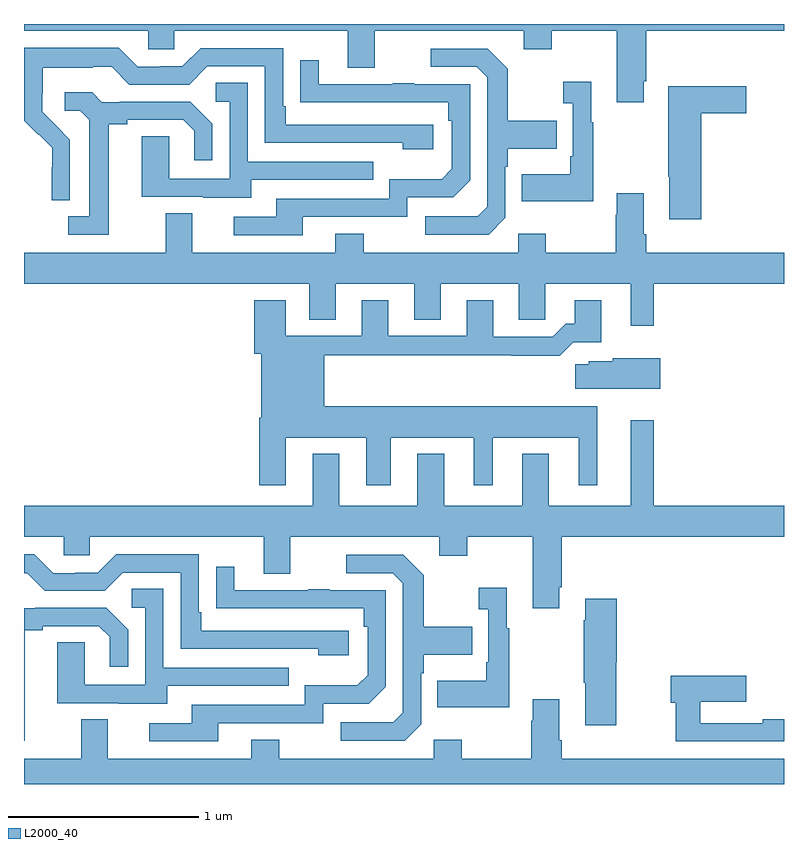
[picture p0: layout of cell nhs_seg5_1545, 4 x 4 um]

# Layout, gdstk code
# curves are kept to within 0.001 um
import gdstk
lib = gdstk.Library(unit=1e-6, precision=1e-09)
def P(c, l, *ps):  # polygons
    for p in ps: c.add(gdstk.Polygon(p, *l))
L2000_40 = (2000, 40)

nhs_seg5_1545 = lib.new_cell('nhs_seg5_1545')
P(nhs_seg5_1545, L2000_40, [(208.261,852.499),(208.274,852.499),(208.274,852.764),(209,852.764),(209,852.799),(205,852.799),(205,852.764),(205.653,852.764),(205.653,852.666),(205.791,852.666),(205.791,852.764),(206.705,852.764),(206.705,852.57),(206.845,852.57),(206.845,852.764),(207.629,852.764),(207.629,852.665),(207.777,852.665),(207.777,852.764),(208.121,852.764),(208.121,852.387),(208.261,852.387)],
  [(205.242,852.19),(205.096,852.338),(205.096,852.435),(205.098,852.435),(205.098,852.569),(205.361,852.569),(205.361,852.573),(205.461,852.573),(205.554,852.48),(205.869,852.48),(205.965,852.576),(206.268,852.576),(206.268,852.174),(206.993,852.174),(206.993,852.14),(207.154,852.14),(207.154,852.27),(206.377,852.27),(206.377,852.367),(206.364,852.367),(206.364,852.672),(205.929,852.672),(205.833,852.576),(205.715,852.576),(205.715,852.573),(205.599,852.573),(205.499,852.673),(205.002,852.673),(205.002,852.576),(205,852.576),(205,852.29),(205.074,852.216),(205.077,852.219),(205.148,852.149),(205.148,852.044),(205.145,852.044),(205.145,851.872),(205.242,851.872)],
  [(207.534,851.778),(207.534,852.047),(207.547,852.047),(207.547,852.143),(207.803,852.143),(207.803,852.291),(207.547,852.291),(207.547,852.563),(207.441,852.669),(207.141,852.669),(207.141,852.573),(207.384,852.573),(207.438,852.519),(207.438,851.838),(207.387,851.787),(207.111,851.787),(207.111,851.691),(207.447,851.691)],
  [(206.467,851.784),(207.018,851.784),(207.018,851.886),(207.258,851.886),(207.348,851.976),(207.348,852.483),(207.053,852.483),(207.053,852.488),(206.941,852.488),(206.941,852.483),(206.551,852.483),(206.551,852.607),(206.455,852.607),(206.455,852.388),(207.232,852.387),(207.232,852.29),(207.252,852.29),(207.252,852.036),(207.199,851.983),(206.922,851.983),(206.922,851.88),(206.327,851.88),(206.327,851.784),(206.103,851.784),(206.103,851.688),(206.467,851.688)],
  [(207.997,852.283),(207.985,852.283),(207.985,852.496),(207.837,852.496),(207.837,852.383),(207.888,852.383),(207.888,852.103),(207.876,852.103),(207.876,852.007),(207.619,852.007),(207.619,851.867),(207.997,851.867)],
  [(206.197,851.979),(206.837,851.979),(206.837,852.075),(206.178,852.075),(206.178,852.491),(206.01,852.491),(206.01,852.39),(206.082,852.39),(206.082,851.985),(205.764,851.985),(205.764,852.209),(205.619,852.209),(205.619,851.889),(205.943,851.889),(205.943,851.885),(206.197,851.885)],
  [(208.565,852.329),(208.801,852.329),(208.801,852.471),(208.39,852.471),(208.39,851.995),(208.397,851.995),(208.397,851.772),(208.565,851.772)],
  [(205.447,852.272),(205.543,852.272),(205.543,852.294),(205.838,852.294),(205.895,852.237),(205.895,852.081),(205.992,852.081),(205.992,852.274),(205.876,852.39),(205.504,852.39),(205.504,852.387),(205.41,852.387),(205.358,852.439),(205.215,852.439),(205.215,852.342),(205.296,852.342),(205.343,852.295),(205.343,851.787),(205.233,851.787),(205.233,851.691),(205.447,851.691)],
  [(208.315,851.432),(209,851.432),(209,851.596),(208.274,851.596),(208.274,851.692),(208.261,851.692),(208.261,851.908),(208.121,851.908),(208.121,851.795),(208.114,851.795),(208.114,851.596),(207.747,851.596),(207.747,851.695),(207.6,851.695),(207.6,851.596),(206.787,851.596),(206.787,851.695),(206.639,851.695),(206.639,851.596),(205.885,851.596),(205.885,851.804),(205.745,851.804),(205.745,851.596),(205,851.596),(205,851.432),(206.501,851.432),(206.501,851.242),(206.641,851.242),(206.641,851.432),(207.053,851.432),(207.053,851.242),(207.193,851.242),(207.193,851.432),(207.605,851.432),(207.605,851.242),(207.744,851.242),(207.744,851.432),(208.193,851.432),(208.193,851.211),(208.315,851.211)],
  [(206.377,850.622),(206.801,850.622),(206.801,850.371),(206.929,850.371),(206.929,850.622),(207.368,850.622),(207.368,850.371),(207.466,850.371),(207.466,850.622),(207.92,850.622),(207.92,850.371),(208.018,850.371),(208.018,850.786),(206.581,850.786),(206.581,851.056),(207.565,851.056),(207.565,851.054),(207.821,851.054),(207.891,851.124),(208.039,851.124),(208.039,851.344),(207.899,851.344),(207.899,851.221),(207.85,851.221),(207.783,851.154),(207.469,851.154),(207.469,851.344),(207.329,851.344),(207.329,851.157),(206.917,851.157),(206.917,851.344),(206.777,851.344),(206.777,851.157),(206.377,851.157),(206.377,851.344),(206.213,851.344),(206.213,851.064),(206.249,851.064),(206.249,850.726),(206.237,850.726),(206.237,850.371),(206.377,850.371)],
  [(208.348,851.041),(208.098,851.041),(208.098,851.023),(207.972,851.023),(207.972,851.009),(207.9,851.009),(207.9,850.88),(208.348,850.88)],
  [(207.817,849.835),(207.83,849.835),(207.83,850.1),(209,850.1),(209,850.264),(208.315,850.264),(208.315,850.714),(208.193,850.714),(208.193,850.264),(207.763,850.264),(207.763,850.537),(207.623,850.537),(207.623,850.264),(207.211,850.264),(207.211,850.537),(207.071,850.537),(207.071,850.264),(206.659,850.264),(206.659,850.537),(206.519,850.537),(206.519,850.264),(205,850.264),(205,850.1),(205.209,850.1),(205.209,850.002),(205.347,850.002),(205.347,850.1),(206.261,850.1),(206.261,849.906),(206.401,849.906),(206.401,850.1),(207.185,850.1),(207.185,850.001),(207.333,850.001),(207.333,850.1),(207.677,850.1),(207.677,849.723),(207.817,849.723)],
  [(206.71,849.606),(205.933,849.606),(205.933,849.703),(205.92,849.703),(205.92,850.008),(205.485,850.008),(205.389,849.912),(205.271,849.912),(205.271,849.909),(205.155,849.909),(205.055,850.009),(205,850.009),(205,849.909),(205.017,849.909),(205.11,849.816),(205.425,849.816),(205.521,849.912),(205.824,849.912),(205.824,849.51),(206.549,849.51),(206.549,849.476),(206.71,849.476)],
  [(207.09,849.114),(207.09,849.383),(207.103,849.383),(207.103,849.479),(207.359,849.479),(207.359,849.627),(207.103,849.627),(207.103,849.899),(206.997,850.005),(206.697,850.005),(206.697,849.909),(206.94,849.909),(206.994,849.855),(206.994,849.174),(206.943,849.123),(206.667,849.123),(206.667,849.027),(207.003,849.027)],
  [(206.023,849.12),(206.574,849.12),(206.574,849.222),(206.814,849.222),(206.904,849.312),(206.904,849.819),(206.609,849.819),(206.609,849.824),(206.497,849.824),(206.497,849.819),(206.107,849.819),(206.107,849.943),(206.011,849.943),(206.011,849.724),(206.788,849.723),(206.788,849.626),(206.808,849.626),(206.808,849.372),(206.755,849.319),(206.478,849.319),(206.478,849.216),(205.883,849.216),(205.883,849.12),(205.659,849.12),(205.659,849.024),(206.023,849.024)],
  [(207.553,849.619),(207.541,849.619),(207.541,849.832),(207.393,849.832),(207.393,849.719),(207.444,849.719),(207.444,849.439),(207.432,849.439),(207.432,849.343),(207.175,849.343),(207.175,849.203),(207.553,849.203)],
  [(205.753,849.315),(206.393,849.315),(206.393,849.411),(205.734,849.411),(205.734,849.827),(205.566,849.827),(205.566,849.726),(205.638,849.726),(205.638,849.321),(205.32,849.321),(205.32,849.545),(205.175,849.545),(205.175,849.225),(205.499,849.225),(205.499,849.221),(205.753,849.221)],
  [(208.116,849.441),(208.121,849.441),(208.121,849.775),(207.953,849.775),(207.953,849.662),(207.946,849.662),(207.946,849.331),(207.953,849.331),(207.953,849.108),(208.116,849.108)],
  [(205.003,849.608),(205.099,849.608),(205.099,849.63),(205.394,849.63),(205.451,849.573),(205.451,849.417),(205.548,849.417),(205.548,849.61),(205.432,849.726),(205.06,849.726),(205.06,849.723),(205,849.723),(205,849.027),(205.003,849.027)],
  [(209,849.14),(208.888,849.14),(208.888,849.12),(208.559,849.12),(208.559,849.233),(208.801,849.233),(208.801,849.368),(208.405,849.368),(208.405,849.226),(208.431,849.226),(208.431,849.024),(209,849.024)],
  [(207.83,849.028),(207.817,849.028),(207.817,849.244),(207.677,849.244),(207.677,849.131),(207.67,849.131),(207.67,848.932),(207.303,848.932),(207.303,849.031),(207.156,849.031),(207.156,848.932),(206.343,848.932),(206.343,849.031),(206.195,849.031),(206.195,848.932),(205.441,848.932),(205.441,849.14),(205.301,849.14),(205.301,848.932),(205,848.932),(205,848.799),(209,848.799),(209,848.932),(207.83,848.932)])

lib.write_gds('nhs_seg5_1545.gds')
